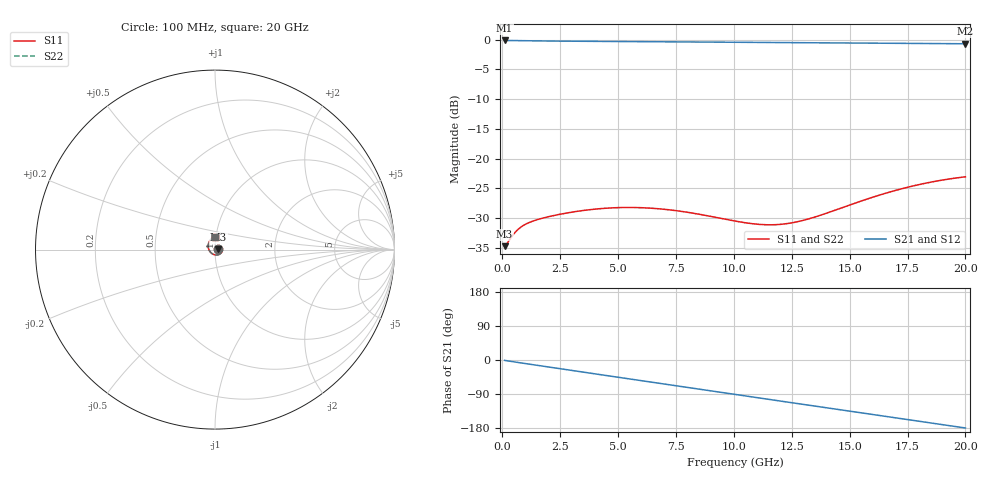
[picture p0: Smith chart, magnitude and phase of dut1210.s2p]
! Touchstone file exported from HFSS 2026.1.0
!  File:  C:/ffzhzh/LocalFiles/Ansys_Project_Files/temp_train_TSV_RDL_1210_1783319675_30076.aedt
!  Generated:  02:44:01 PM Jul  6, 2026
!  Design:  TSV_RDL
!  Project:  temp_train_TSV_RDL_1210_1783319675_30076
! Variables:
!  h_bsmrdl = 2.1um
!  h_ox = 20um
!  h_rdl = 5um
!  h_sub = 96.03um
!  h_tmrdl = 4.58um
!  h_tsv = 96.03um
!  h_via = 3um
!  l_bsmrdl = 435.04um
!  l_sub = 2574.68um
!  l_tmrdl = 193.78um
!  m_sub = 200um
!  pitch = 22.85um
!  r_tsv = 8.78um
!  s_tmrdl = 10um
!  w_bsmrdl = 17.98um
!  w_sub = 500um
!  w_tmrdl = 13.5um
!  x_tsv_center1 = 200.53um
!  x_tsv_center2 = 653.55um
!  x_tsv_center3 = 860.83um
!  x_tsv_center4 = 1313.85um
!  x_tsv_center5 = 1521.13um
!  x_tsv_center6 = 1974.15um
# GHz S MA R 50.000000
! Terminal data exported
! Port[1] = TM_RDL1_1_T1
! Port[2] = TM_RDL5_1_T1
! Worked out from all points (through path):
!   200 points, 100 MHz to 20 GHz, reference 50 ohm
!   highest |S21| = -0.16 dB at 100 MHz (marker M1); lowest = -0.7 dB at 20 GHz (marker M2)
!   group delay of S21, straight-line fit = 24.9 ps
!   lowest |S11| = -34.7 dB at 100 MHz (marker M3), VSWR 1.04, Z = 51.9 + j0.192 ohm
!   |S11| at or under -10 dB: start of sweep to end of sweep
!   |S22| runs from -34.7 to -23.0 dB; largest |S21 - S12| = 3.3e-14
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0.1  0.01842 5.8  0.9817 -1.0  0.9817 -1.0  0.01842 5.8
! Gamma 0 0 0 0
! Port Impedance 50 0 50 0
0.6  0.02459 16.0  0.9771 -5.8  0.9771 -5.8  0.02459 16.0
0.8  0.0266 15.2  0.9755 -7.6  0.9755 -7.6  0.0266 15.2
1.1  0.02874 13.2  0.9737 -10.3  0.9737 -10.3  0.02874 13.2
2.3  0.03354 6.1  0.9696 -21.2  0.9696 -21.2  0.03353 6.1
3.5  0.03673 -2.0  0.9664 -32.0  0.9664 -32.0  0.0367 -1.9
5.2  0.03888 -16.9  0.962 -47.3  0.962 -47.3  0.03883 -16.9
6.8  0.03788 -34.7  0.958 -61.7  0.958 -61.7  0.0378 -34.6
7.7  0.03616 -46.5  0.9558 -69.8  0.9558 -69.8  0.03606 -46.5
8.5  0.03415 -58.5  0.9538 -76.9  0.9538 -76.9  0.03402 -58.5
9.3  0.03191 -72.3  0.9518 -84.1  0.9518 -84.1  0.03176 -72.2
10.1  0.02981 -88.1  0.9497 -91.3  0.9497 -91.3  0.02963 -88.1
11  0.02816 -108.8  0.9473 -99.3  0.9473 -99.3  0.02797 -108.9
11.8  0.0279 -129.1  0.9451 -106.5  0.9451 -106.5  0.0277 -129.3
12.6  0.02914 -149.8  0.9428 -113.6  0.9428 -113.6  0.02895 -150.1
13.4  0.0319 -169.3  0.9405 -120.8  0.9405 -120.8  0.03175 -169.7
15.1  0.04143 156.1  0.9353 -135.9  0.9353 -135.9  0.04135 155.8
16.7  0.05223 131.0  0.9304 -150.1  0.9304 -150.1  0.0522 130.7
17.6  0.05811 118.9  0.9277 -158.1  0.9277 -158.1  0.05811 118.6
18.4  0.06289 108.9  0.9254 -165.2  0.9254 -165.2  0.06291 108.6
19.2  0.06703 99.4  0.9231 -172.3  0.9231 -172.3  0.06707 99.1
20  0.07037 90.3  0.921 -179.4  0.921 -179.4  0.07041 90.1
